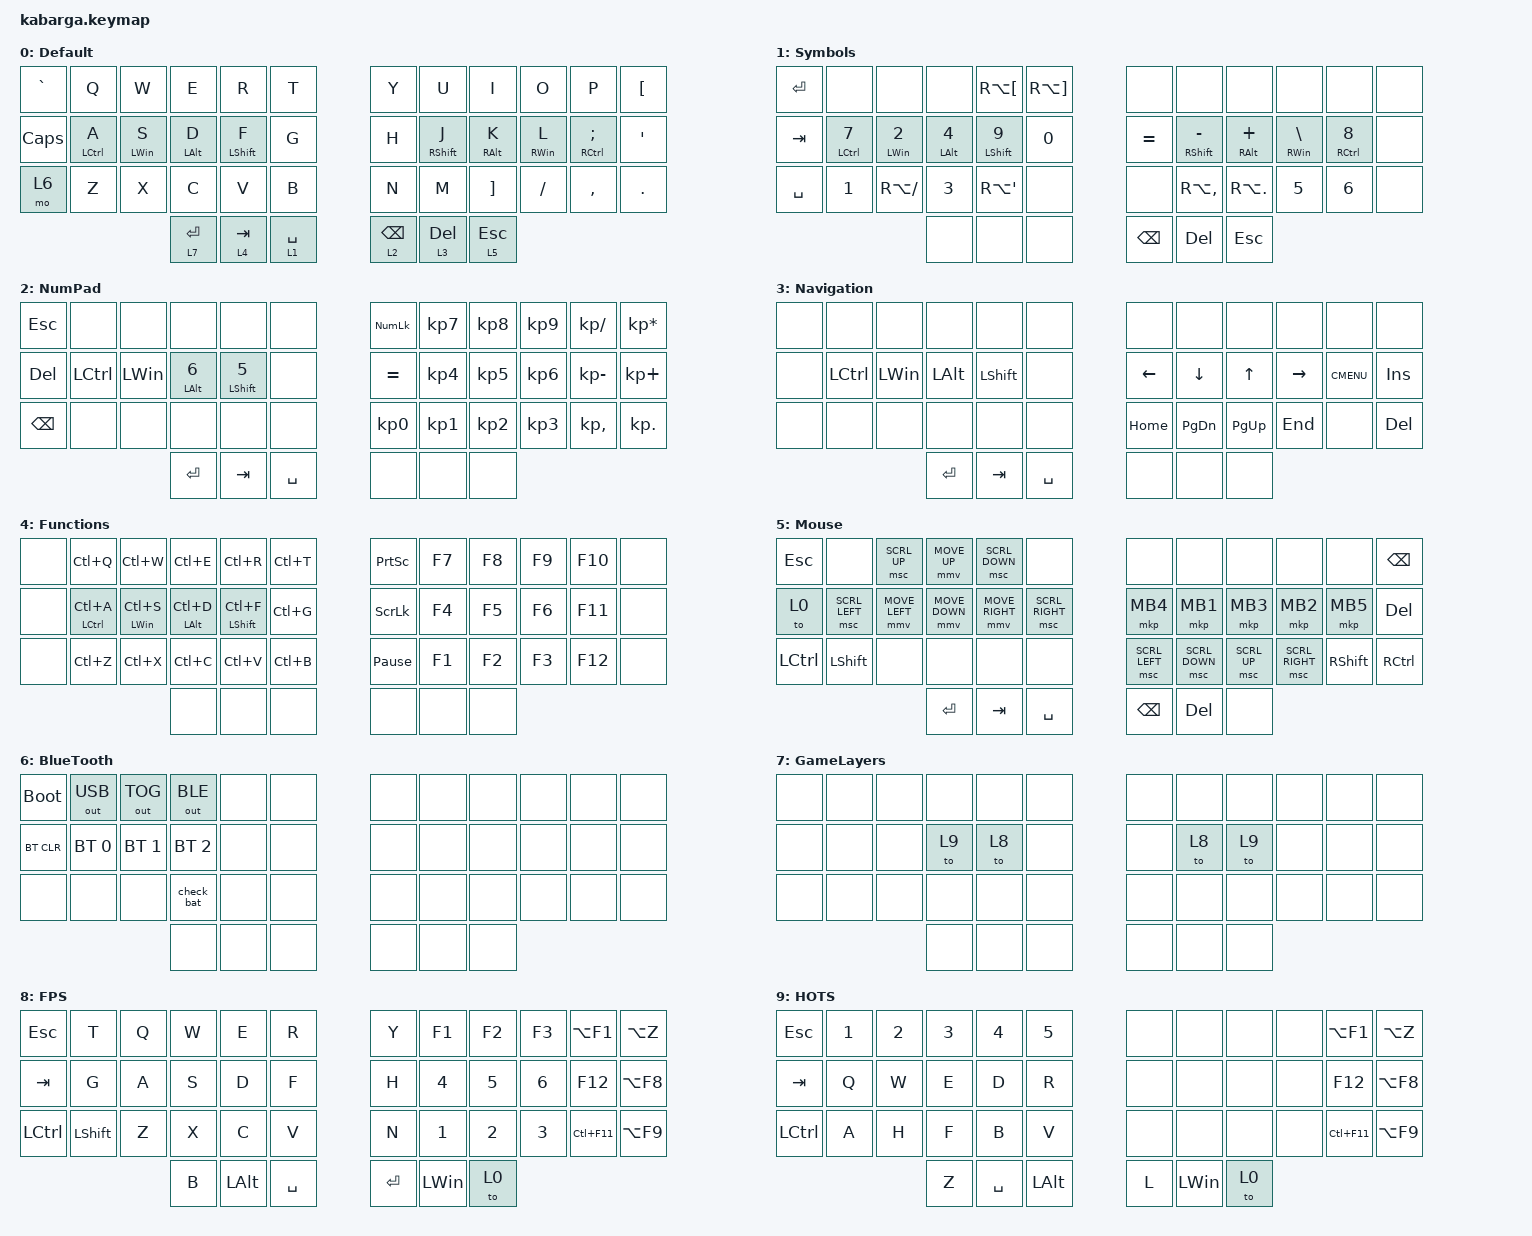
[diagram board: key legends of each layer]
/*
 * Copyright (c) 2020 The ZMK Contributors
 *
 * SPDX-License-Identifier: MIT
 */

#include <behaviors.dtsi>
#include <dt-bindings/zmk/keys.h>
#include <dt-bindings/zmk/bt.h>
#include <dt-bindings/zmk/outputs.h>
#include <dt-bindings/zmk/pointing.h>

#define ZMK_POINTING_DEFAULT_MOVE_VAL 2500  // default: 600
#define ZMK_POINTING_DEFAULT_SCRL_VAL 10    // default: 10
#define DEF 0
#define LWR 1
#define RSE 2
#define ADJ 3

&lt { quick_tap_ms = <220>; };
&mt { quick_tap_ms = <220>; };

/ {
    macros {
        numdot: numdot {
            label = "ZM_numdot";
            compatible = "zmk,behavior-macro";
            #binding-cells = <0>;
            wait-ms = <40>;
            tap-ms = <40>;
            bindings =
                <&macro_press>,
                <&kp LALT>,
                <&macro_tap>,
                <&kp KP_N4 &kp KP_N6>,
                <&macro_release>,
                <&kp LALT>;
        };

        grtsgn: grtsgn {
            label = "ZM_grtsgn";
            compatible = "zmk,behavior-macro";
            #binding-cells = <0>;
            wait-ms = <40>;
            tap-ms = <40>;
            bindings =
                <&macro_press>,
                <&kp LALT>,
                <&macro_tap>,
                <&kp KP_N6 &kp KP_N2>,
                <&macro_release>,
                <&kp LALT>;
        };

        cng_lang: cng_lang {
            label = "ZM_cng_lang";
            compatible = "zmk,behavior-macro";
            #binding-cells = <0>;
            wait-ms = <10>;
            tap-ms = <10>;
            bindings =
                <&macro_press>,
                <&kp LWIN>,
                <&macro_tap>,
                <&kp SPACE>,
                <&macro_release>,
                <&kp LWIN>;
        };
    };
};

/ {
    behaviors {
        hm: homerow_mods {
            compatible = "zmk,behavior-hold-tap";
            #binding-cells = <2>;
            tapping-term-ms = <150>;
            quick-tap-ms = <0>;
            flavor = "tap-preferred";
            bindings = <&kp>, <&kp>;
        };
    };
};

/ {
        keymap {
                compatible = "zmk,keymap";

                Default {
                        bindings = <
&kp GRAVE  &kp Q        &kp W       &kp E        &kp R         &kp T            &kp Y       &kp U         &kp I       &kp O       &kp P           &kp LBKT
&kp CAPS   &hm LCTRL A  &hm LWIN S  &hm LALT D   &hm LSHIFT F  &kp G            &kp H       &hm RSHIFT J  &hm RALT K  &hm RWIN L  &hm RCTRL SEMI  &kp SQT
&mo 6      &kp Z        &kp X       &kp C        &kp V         &kp B            &kp N       &kp M         &kp RBKT    &kp FSLH    &kp COMMA       &kp DOT
                                    &lt 7 ENTER  &lt 4 TAB     &lt 1 SPACE      &lt 2 BSPC  &lt 3 DEL     &lt 5 ESC
                        >;
                };
                Symbols {
                        bindings = <
&kp ENTER  &none               &none              &none              &kp RA(LBKT)         &kp RA(RBKT)         &none      &none             &none          &none          &none               &none
&kp TAB    &hm LCTRL NUMBER_7  &hm LWIN NUMBER_2  &hm LALT NUMBER_4  &hm LSHIFT NUMBER_9  &kp NUMBER_0         &kp EQUAL  &hm RSHIFT MINUS  &hm RALT PLUS  &hm RWIN BSLH  &hm RCTRL NUMBER_8  &none
&kp SPACE  &kp NUMBER_1        &kp RA(SLASH)      &kp NUMBER_3       &kp RA(SQT)          &none                &none      &kp RA(COMMA)     &kp RA(DOT)    &kp NUMBER_5   &kp NUMBER_6        &none
                                                  &none              &none                &none                &kp BSPC   &kp DEL           &kp ESC
                        >;
                };
                NumPad {
                        bindings = <
&kp ESC   &none      &none     &none              &none                &none             &kp KP_NUMLOCK   &kp KP_NUMBER_7  &kp KP_NUMBER_8  &kp KP_NUMBER_9  &kp KP_SLASH  &kp KP_ASTERISK
&kp DEL   &kp LCTRL  &kp LWIN  &hm LALT NUMBER_6  &hm LSHIFT NUMBER_5  &none             &kp EQUAL        &kp KP_NUMBER_4  &kp KP_NUMBER_5  &kp KP_NUMBER_6  &kp KP_MINUS  &kp KP_PLUS
&kp BSPC  &none      &none     &none              &none                &none             &kp KP_NUMBER_0  &kp KP_NUMBER_1  &kp KP_NUMBER_2  &kp KP_NUMBER_3  &kp KP_COMMA  &kp KP_DOT
                               &kp ENTER          &kp TAB              &kp SPACE         &none            &none            &none
                        >;
                };
                Navigation {
                        bindings = <
&none  &none      &none     &none      &none       &none          &none     &none          &none      &none      &none        &none  
&none  &kp LCTRL  &kp LWIN  &kp LALT   &kp LSHIFT  &none          &kp LEFT  &kp DOWN       &kp UP     &kp RIGHT  &kp K_CMENU  &kp INSERT
&none  &none      &none     &none      &none       &none          &kp HOME  &kp PAGE_DOWN  &kp PG_UP  &kp END    &none        &kp DEL
                            &kp ENTER  &kp TAB     &kp SPACE      &none     &none          &none
                        >;
                };
                Functions {
                        bindings = <
&none  &kp LC(Q)        &kp LC(W)       &kp LC(E)       &kp LC(R)         &kp LC(T)     &kp PRINTSCREEN  &kp F7  &kp F8  &kp F9  &kp F10  &none  
&none  &hm LCTRL LC(A)  &hm LWIN LC(S)  &hm LALT LC(D)  &hm LSHIFT LC(F)  &kp LC(G)     &kp SCROLLLOCK   &kp F4  &kp F5  &kp F6  &kp F11  &none
&none  &kp LC(Z)        &kp LC(X)       &kp LC(C)       &kp LC(V)         &kp LC(B)     &kp PAUSE_BREAK  &kp F1  &kp F2  &kp F3  &kp F12  &none
                                        &none           &none             &none         &none            &none   &none
                        >;
                };
                Mouse {
                        bindings = <
&kp ESC    &none           &msc SCRL_UP    &mmv MOVE_UP    &msc SCRL_DOWN   &none               &none           &none           &none         &none            &none       &kp BSPC
&to 0      &msc SCRL_LEFT  &mmv MOVE_LEFT  &mmv MOVE_DOWN  &mmv MOVE_RIGHT  &msc SCRL_RIGHT     &mkp MB4        &mkp MB1        &mkp MB3      &mkp MB2         &mkp MB5    &kp DEL
&kp LCTRL  &kp LSHIFT      &none           &none           &none            &none               &msc SCRL_LEFT  &msc SCRL_DOWN  &msc SCRL_UP  &msc SCRL_RIGHT  &kp RSHIFT  &kp RCTRL
                                           &kp ENTER       &kp TAB          &kp SPACE           &kp BSPC        &kp DEL         &none
                        >;
                };
                BlueTooth {
                        bindings = <
&bootloader  &out OUT_USB  &out OUT_TOG  &out OUT_BLE  &none  &none     &none  &none  &none  &none  &none  &none
&bt BT_CLR   &bt BT_SEL 0  &bt BT_SEL 1  &bt BT_SEL 2  &none  &none     &none  &none  &none  &none  &none  &none
&none        &none         &none         &check_bat    &none  &none     &none  &none  &none  &none  &none  &none
                                         &none         &none  &none     &none  &none  &none
                        >;
                };
                GameLayers {
                        bindings = <
&none  &none  &none  &none  &none  &none        &none  &none  &none  &none  &none  &none  
&none  &none  &none  &to 9  &to 8  &none        &none  &to 8  &to 9  &none  &none  &none
&none  &none  &none  &none  &none  &none        &none  &none  &none  &none  &none  &none
                     &none  &none  &none        &none  &none  &none
                        >;
                };
                FPS {
                        bindings = <
&kp ESC    &kp T       &kp Q  &kp W  &kp E     &kp R       &kp Y      &kp F1       &kp F2        &kp F3        &kp LA(F1)   &kp LA(Z)
&kp TAB    &kp G       &kp A  &kp S  &kp D     &kp F       &kp H      &kp NUMBER_4 &kp NUMBER_5  &kp NUMBER_6  &kp F12      &kp LA(F8)
&kp LCTRL  &kp LSHIFT  &kp Z  &kp X  &kp C     &kp V       &kp N      &kp NUMBER_1 &kp NUMBER_2  &kp NUMBER_3  &kp LC(F11)  &kp LA(F9)
                              &kp B  &kp LALT  &kp SPACE   &kp ENTER  &kp LWIN     &to 0
                        >;
                };
                HOTS {
                        bindings = <
&kp ESC    &kp NUMBER_1 &kp NUMBER_2  &kp NUMBER_3  &kp NUMBER_4  &kp NUMBER_5  &none  &none     &none  &none  &kp LA(F1)   &kp LA(Z)  
&kp TAB    &kp Q        &kp W         &kp E         &kp D         &kp R         &none  &none     &none  &none  &kp F12      &kp LA(F8)
&kp LCTRL  &kp A        &kp H         &kp F         &kp B         &kp V         &none  &none     &none  &none  &kp LC(F11)  &kp LA(F9)
                                      &kp Z         &kp SPACE     &kp LALT      &kp L  &kp LWIN  &to 0
                        >;
                };
        };
};
